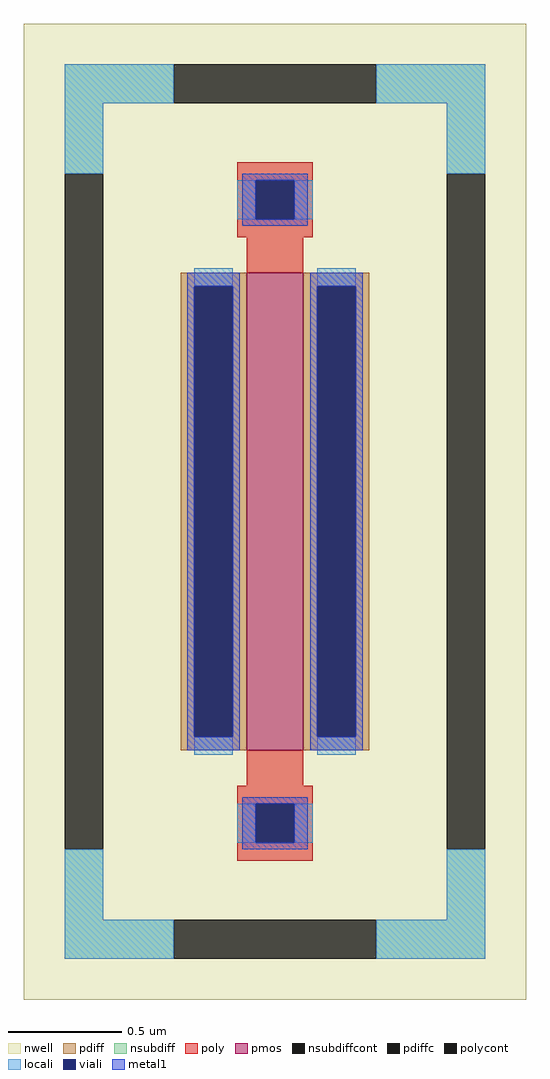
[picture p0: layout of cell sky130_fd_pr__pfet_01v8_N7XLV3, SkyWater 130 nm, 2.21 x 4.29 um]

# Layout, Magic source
magic
tech sky130A
magscale 1 2
<< nwell >>
rect -221 -429 221 429
<< pmos >>
rect -25 -210 25 210
<< pdiff >>
rect -83 198 -25 210
rect -83 -198 -71 198
rect -37 -198 -25 198
rect -83 -210 -25 -198
rect 25 198 83 210
rect 25 -198 37 198
rect 71 -198 83 198
rect 25 -210 83 -198
<< pdiffc >>
rect -71 -198 -37 198
rect 37 -198 71 198
<< nsubdiff >>
rect -185 359 -89 393
rect 89 359 185 393
rect -185 297 -151 359
rect 151 297 185 359
rect -185 -359 -151 -297
rect 151 -359 185 -297
rect -185 -393 -89 -359
rect 89 -393 185 -359
<< nsubdiffcont >>
rect -89 359 89 393
rect -185 -297 -151 297
rect 151 -297 185 297
rect -89 -393 89 -359
<< poly >>
rect -33 291 33 307
rect -33 257 -17 291
rect 17 257 33 291
rect -33 241 33 257
rect -25 210 25 241
rect -25 -241 25 -210
rect -33 -257 33 -241
rect -33 -291 -17 -257
rect 17 -291 33 -257
rect -33 -307 33 -291
<< polycont >>
rect -17 257 17 291
rect -17 -291 17 -257
<< locali >>
rect -185 359 -89 393
rect 89 359 185 393
rect -185 297 -151 359
rect 151 297 185 359
rect -33 257 -17 291
rect 17 257 33 291
rect -71 198 -37 214
rect -71 -214 -37 -198
rect 37 198 71 214
rect 37 -214 71 -198
rect -33 -291 -17 -257
rect 17 -291 33 -257
rect -185 -359 -151 -297
rect 151 -359 185 -297
rect -185 -393 -89 -359
rect 89 -393 185 -359
<< viali >>
rect -17 257 17 291
rect -71 -198 -37 198
rect 37 -198 71 198
rect -17 -291 17 -257
<< metal1 >>
rect -29 291 29 297
rect -29 257 -17 291
rect 17 257 29 291
rect -29 251 29 257
rect -77 198 -31 210
rect -77 -198 -71 198
rect -37 -198 -31 198
rect -77 -210 -31 -198
rect 31 198 77 210
rect 31 -198 37 198
rect 71 -198 77 198
rect 31 -210 77 -198
rect -29 -257 29 -251
rect -29 -291 -17 -257
rect 17 -291 29 -257
rect -29 -297 29 -291
<< properties >>
string FIXED_BBOX -168 -376 168 376
string gencell sky130_fd_pr__pfet_01v8
string library sky130
string parameters w 2.1 l 0.25 m 1 nf 1 diffcov 100 polycov 100 guard 1 glc 1 grc 1 gtc 1 gbc 1 tbcov 100 rlcov 100 topc 1 botc 1 poverlap 0 doverlap 1 lmin 0.15 wmin 0.42 compatible {sky130_fd_pr__pfet_01v8  sky130_fd_pr__pfet_01v8_lvt sky130_fd_pr__pfet_01v8_hvt  sky130_fd_pr__pfet_g5v0d10v5} full_metal 1 viasrc 100 viadrn 100 viagate 100 viagb 0 viagr 0 viagl 0 viagt 0
<< end >>
